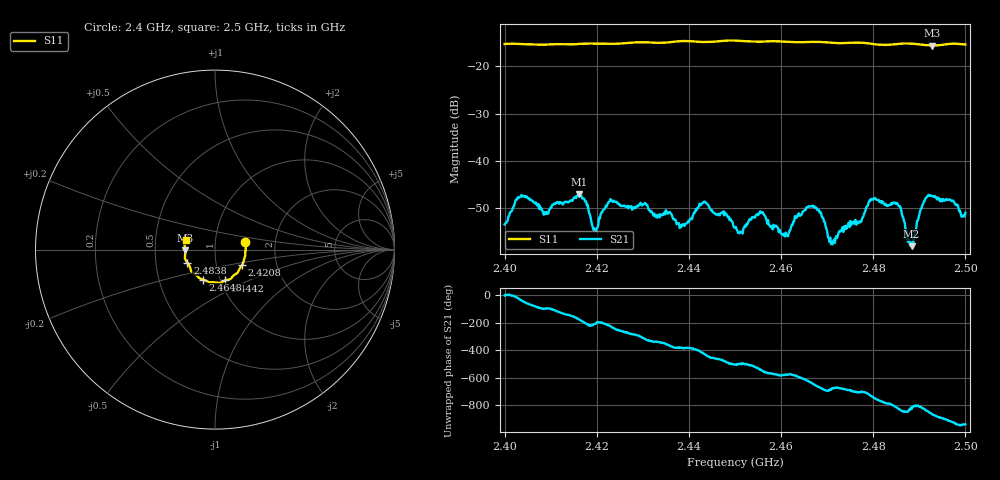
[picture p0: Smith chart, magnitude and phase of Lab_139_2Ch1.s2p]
# Hz S RI R 50
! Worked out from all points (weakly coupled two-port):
!   601 points, 2.4 GHz to 2.5 GHz, reference 50 ohm
!   highest |S21| = -47.07 dB at 2.4162 GHz (marker M1); lowest = -58.0 dB at 2.4883 GHz (marker M2)
!   lowest |S11| = -15.6 dB at 2.4928 GHz (marker M3), VSWR 1.40, Z = 35.8 - j0.346 ohm
!   |S11| at or under -10 dB: start of sweep to end of sweep
!   S12 and S22 are empty: the file has one direction only
!   S11 on the Smith chart (normalised r, x): 2.4 GHz: 1.40, +0.12; 2.4208 GHz: 1.33, -0.24; 2.4442 GHz: 1.05, -0.37; 2.4648 GHz: 0.83, -0.29; 2.4838 GHz: 0.73, -0.11; 2.5 GHz: 0.72, +0.08
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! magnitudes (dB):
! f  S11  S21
! 2.4 GHz  -15.3  -53.4
! 2.4033 GHz  -15.3  -47.6
! 2.409 GHz  -15.4  -50.8
! 2.4162 GHz  -15.3  -47.1
! 2.4167 GHz  -15.2  -47.3
! 2.4195 GHz  -15.2  -54.3
! 2.4208 GHz  -15.2  -51.3
! 2.4233 GHz  -15.2  -48.4
! 2.4333 GHz  -15.0  -51.8
! 2.4442 GHz  -14.9  -49.3
! 2.45 GHz  -14.5  -54.1
! 2.4557 GHz  -14.8  -51.0
! 2.4612 GHz  -14.8  -55.7
! 2.4648 GHz  -14.9  -50.7
! 2.4667 GHz  -14.8  -49.5
! 2.4713 GHz  -15.0  -56.9
! 2.4797 GHz  -15.2  -48.1
! 2.4833 GHz  -15.4  -49.4
! 2.4838 GHz  -15.4  -49.0
! 2.4883 GHz  -15.2  -58.0
! 2.4928 GHz  -15.6  -47.4
! 2.5 GHz  -15.4  -50.9
